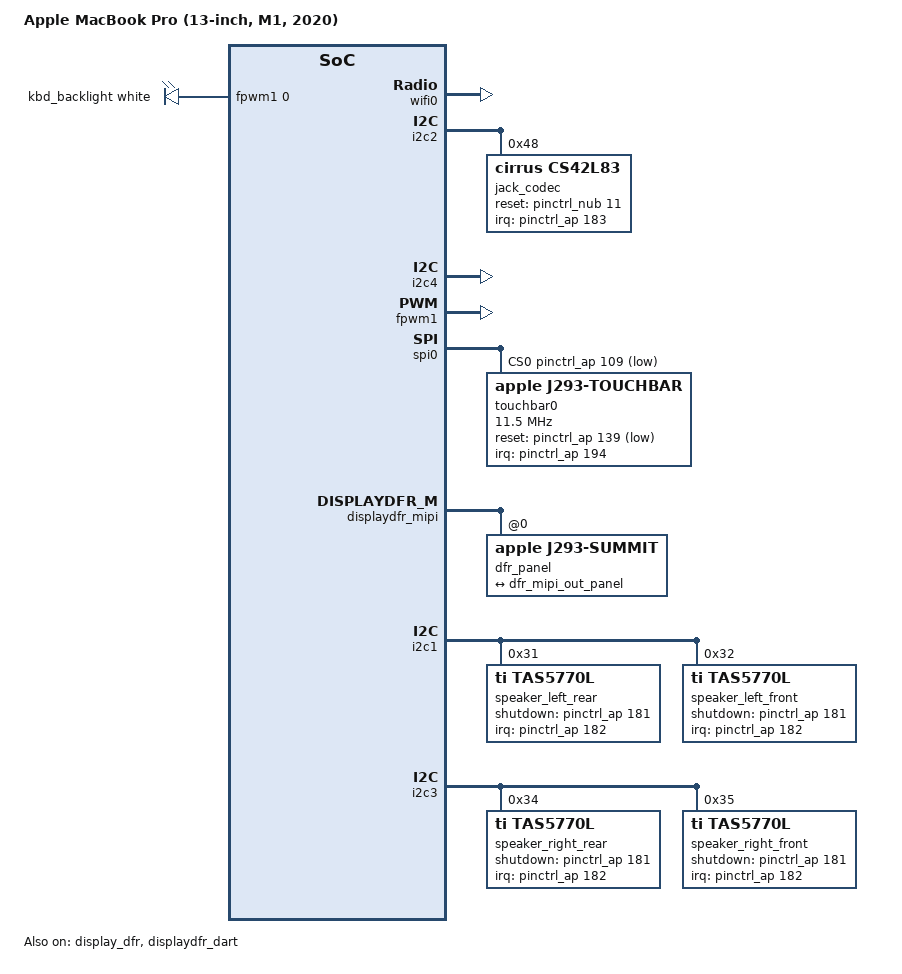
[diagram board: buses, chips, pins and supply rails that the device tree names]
// SPDX-License-Identifier: GPL-2.0+ OR MIT
/*
 * Apple MacBook Pro (13-inch, M1, 2020)
 *
 * target-type: J293
 *
 * Copyright The Asahi Linux Contributors
 */

/dts-v1/;

#include "t8103.dtsi"
#include "t8103-jxxx.dtsi"
#include <dt-bindings/leds/common.h>

/ {
	compatible = "apple,j293", "apple,t8103", "apple,arm-platform";
	model = "Apple MacBook Pro (13-inch, M1, 2020)";
	chassis-type = "laptop";

	/*
	 * All of those are used by the bootloader to pass calibration
	 * blobs and other device-specific properties
	 */
	aliases {
		touchbar0 = &touchbar0;
	};

	led-controller {
		compatible = "pwm-leds";
		led-0 {
			pwms = <&fpwm1 0 40000>;
			label = "kbd_backlight";
			function = LED_FUNCTION_KBD_BACKLIGHT;
			color = <LED_COLOR_ID_WHITE>;
			max-brightness = <255>;
			default-state = "keep";
		};
	};
};

&bluetooth0 {
	brcm,board-type = "apple,honshu";
};

&wifi0 {
	brcm,board-type = "apple,honshu";
};

/*
 * Provide labels for the USB type C ports.
 */

&typec0 {
	label = "USB-C Left-back";
};

&typec1 {
	label = "USB-C Left-front";
};

&i2c2 {
	status = "okay";
};

&i2c4 {
	status = "okay";
};

&fpwm1 {
	status = "okay";
};

&spi0 {
	cs-gpios = <&pinctrl_ap 109 GPIO_ACTIVE_LOW>;
	status = "okay";

	touchbar0: touchbar@0 {
		compatible = "apple,j293-touchbar";
		reg = <0>;
		spi-max-frequency = <11500000>;
		spi-cs-setup-delay-ns = <2000>;
		spi-cs-hold-delay-ns = <2000>;
		reset-gpios = <&pinctrl_ap 139 GPIO_ACTIVE_LOW>;
		interrupts-extended = <&pinctrl_ap 194 IRQ_TYPE_EDGE_FALLING>;
		firmware-name = "apple/dfrmtfw-j293.bin";
		touchscreen-size-x = <23045>;
		touchscreen-size-y = <640>;
		touchscreen-inverted-y;
	};
};

/*
 * The driver depends on boot loader initialized state which resets when this
 * power-domain is powered off. This happens on suspend or when the driver is
 * missing during boot. Mark the domain as always on until the driver can
 * handle this.
 */
&ps_dispdfr_be {
	apple,always-on;
};

&display_dfr {
	status = "okay";
};

&dfr_mipi_out {
	dfr_mipi_out_panel: endpoint@0 {
		reg = <0>;
		remote-endpoint = <&dfr_panel_in>;
	};
};

&displaydfr_mipi {
	status = "okay";
	#address-cells = <1>;
	#size-cells = <0>;

	dfr_panel: panel@0 {
		compatible = "apple,j293-summit", "apple,summit";
		reg = <0>;
		max-brightness = <255>;

		port {
			dfr_panel_in: endpoint {
				remote-endpoint = <&dfr_mipi_out_panel>;
			};
		};
	};
};

&displaydfr_dart {
	status = "okay";
};

/* Audio codecs */
&i2c1 {
	status = "okay";

	speaker_left_rear: codec@31 {
		compatible = "ti,tas5770l";
		reg = <0x31>;
		interrupts-extended = <&pinctrl_ap 182 IRQ_TYPE_LEVEL_LOW>;
		shutdown-gpios = <&pinctrl_ap 181 GPIO_ACTIVE_HIGH>;
		#sound-dai-cells = <0>;
		sound-name-prefix = "Left Rear";
		ti,imon-slot-no = <8>;
		ti,vmon-slot-no = <10>;
	};

	speaker_left_front: codec@32 {
		compatible = "ti,tas5770l";
		reg = <0x32>;
		interrupts-extended = <&pinctrl_ap 182 IRQ_TYPE_LEVEL_LOW>;
		shutdown-gpios = <&pinctrl_ap 181 GPIO_ACTIVE_HIGH>;
		#sound-dai-cells = <0>;
		sound-name-prefix = "Left Front";
		ti,imon-slot-no = <0>;
		ti,vmon-slot-no = <2>;
	};
};

&i2c2 {
	status = "okay";

	jack_codec: codec@48 {
		compatible = "cirrus,cs42l83";
		reg = <0x48>;
		interrupts-extended = <&pinctrl_ap 183 IRQ_TYPE_LEVEL_LOW>;
		reset-gpios = <&pinctrl_nub 11 GPIO_ACTIVE_HIGH>;
		#sound-dai-cells = <0>;
		sound-name-prefix = "Jack";
		cirrus,ts-inv = <1>;
	};
};

&i2c3 {
	status = "okay";

	speaker_right_rear: codec@34 {
		compatible = "ti,tas5770l";
		reg = <0x34>;
		interrupts-extended = <&pinctrl_ap 182 IRQ_TYPE_LEVEL_LOW>;
		shutdown-gpios = <&pinctrl_ap 181 GPIO_ACTIVE_HIGH>;
		#sound-dai-cells = <0>;
		sound-name-prefix = "Right Rear";
		ti,imon-slot-no = <12>;
		ti,vmon-slot-no = <14>;
	};

	speaker_right_front: codec@35 {
		compatible = "ti,tas5770l";
		reg = <0x35>;
		interrupts-extended = <&pinctrl_ap 182 IRQ_TYPE_LEVEL_LOW>;
		shutdown-gpios = <&pinctrl_ap 181 GPIO_ACTIVE_HIGH>;
		#sound-dai-cells = <0>;
		sound-name-prefix = "Right Front";
		ti,imon-slot-no = <4>;
		ti,vmon-slot-no = <6>;
	};
};

/ {
	sound: sound {
		compatible = "apple,j293-macaudio";
		model = "MacBook Pro J293";

		#address-cells = <1>;
		#size-cells = <0>;

		dai-link@0 {
			reg = <0>;

			dai-tdm-idle-mode-0 = "pulldown";
			dai-tdm-idle-mode-2 = "pulldown";

			link-name = "Speakers";

			codec {
				sound-dai = <&speaker_left_front>,
					    <&speaker_left_rear>,
					    <&speaker_right_front>,
					    <&speaker_right_rear>;
			};

			cpu {
				sound-dai = <&mca 0>, <&mca 1>;
			};
		};

		dai-link@1 {
			reg = <1>;

			link-name = "Headphone Jack";

			codec {
				sound-dai = <&jack_codec>;
			};

			cpu {
				sound-dai = <&mca 2>;
			};
		};
	};
};

#include "hwmon-laptop.dtsi"
#include "hwmon-fan.dtsi"
